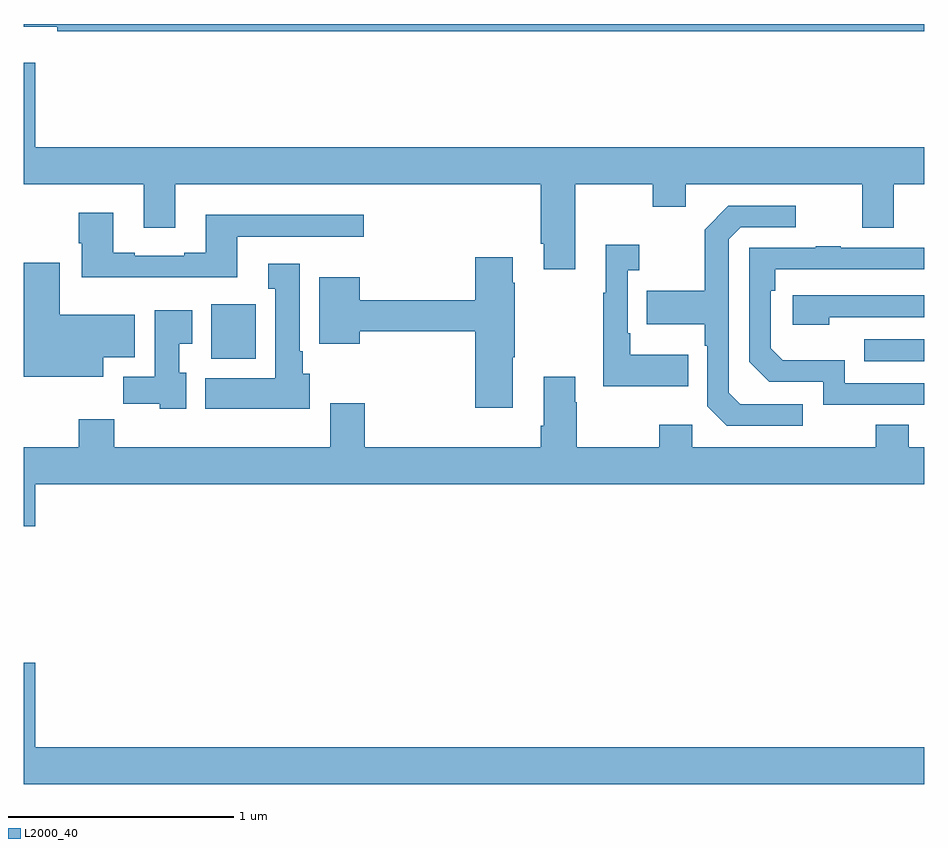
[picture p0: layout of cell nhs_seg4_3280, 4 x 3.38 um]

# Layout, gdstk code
import gdstk
lib = gdstk.Library(unit=1e-6, precision=1e-09)
def R(c, l, rs):  # rectangles x0, y0, x1, y1
    for r in rs: c.add(gdstk.rectangle(r[:2], r[2:], *l))
def P(c, l, *ps):  # polygons
    for p in ps: c.add(gdstk.Polygon(p, *l))
L2000_40 = (2000, 40)

nhs_seg4_3280 = lib.new_cell('nhs_seg4_3280')
R(nhs_seg4_3280, L2000_40, [(288.733,761.403,289,761.499), (285.833,761.414,286.03,761.656)])
P(nhs_seg4_3280, L2000_40, [(289,762.9),(285,762.9),(285,762.887),(285.148,762.887),(285.148,762.868),(289,762.868)],
  [(287.449,762.188),(287.794,762.188),(287.794,762.089),(287.941,762.089),(287.941,762.188),(288.725,762.188),(288.725,761.994),(288.865,761.994),(288.865,762.188),(289,762.188),(289,762.352),(285.052,762.352),(285.052,762.727),(285,762.727),(285,762.188),(285.533,762.188),(285.533,761.994),(285.673,761.994),(285.673,762.188),(287.297,762.188),(287.297,761.923),(287.309,761.923),(287.309,761.811),(287.449,761.811)],
  [(288.46,761.211),(288.183,761.211),(288.132,761.262),(288.132,761.943),(288.186,761.997),(288.43,761.997),(288.43,762.093),(288.129,762.093),(288.024,761.987),(288.024,761.715),(287.767,761.715),(287.767,761.567),(288.024,761.567),(288.024,761.471),(288.036,761.471),(288.036,761.202),(288.123,761.115),(288.46,761.115)],
  [(285.949,761.955),(286.51,761.955),(286.51,762.052),(285.809,762.052),(285.809,761.884),(285.713,761.884),(285.713,761.871),(285.493,761.871),(285.493,761.884),(285.397,761.884),(285.397,762.061),(285.245,762.061),(285.245,761.926),(285.257,761.926),(285.257,761.774),(285.949,761.774)],
  [(287.951,761.431),(287.695,761.431),(287.695,761.527),(287.682,761.527),(287.682,761.807),(287.734,761.807),(287.734,761.92),(287.585,761.92),(287.585,761.707),(287.574,761.707),(287.574,761.291),(287.951,761.291)],
  [(289,761.304),(288.648,761.304),(288.648,761.407),(288.371,761.407),(288.318,761.46),(288.318,761.714),(288.338,761.714),(288.338,761.811),(289,761.811),(289,761.907),(288.629,761.907),(288.629,761.912),(288.517,761.912),(288.517,761.907),(288.222,761.907),(288.222,761.4),(288.312,761.31),(288.552,761.31),(288.552,761.208),(289,761.208)],
  [(287.173,761.419),(287.181,761.419),(287.181,761.75),(287.173,761.75),(287.173,761.863),(287.006,761.863),(287.006,761.672),(286.492,761.672),(286.492,761.776),(286.313,761.776),(286.313,761.48),(286.492,761.48),(286.492,761.536),(287.006,761.536),(287.006,761.196),(287.173,761.196)],
  [(285.352,761.42),(285.493,761.42),(285.493,761.608),(285.16,761.608),(285.16,761.839),(285,761.839),(285,761.333),(285.352,761.333)],
  [(286.27,761.346),(286.24,761.346),(286.24,761.446),(286.225,761.446),(286.225,761.836),(286.085,761.836),(286.085,761.723),(286.118,761.723),(286.118,761.326),(285.806,761.326),(285.806,761.192),(286.27,761.192)],
  [(288.578,761.598),(289,761.598),(289,761.694),(288.417,761.694),(288.417,761.564),(288.578,761.564)],
  [(285.721,761.35),(285.691,761.35),(285.691,761.48),(285.748,761.48),(285.748,761.629),(285.581,761.629),(285.581,761.332),(285.442,761.332),(285.442,761.214),(285.603,761.214),(285.603,761.192),(285.721,761.192)],
  [(289,761.02),(288.931,761.02),(288.931,761.119),(288.784,761.119),(288.784,761.02),(287.97,761.02),(287.97,761.119),(287.824,761.119),(287.824,761.02),(287.457,761.02),(287.457,761.219),(287.449,761.219),(287.449,761.332),(287.309,761.332),(287.309,761.116),(287.297,761.116),(287.297,761.02),(286.514,761.02),(286.514,761.215),(286.361,761.215),(286.361,761.02),(285.401,761.02),(285.401,761.144),(285.245,761.144),(285.245,761.02),(285,761.02),(285,760.668),(285.052,760.668),(285.052,760.856),(289,760.856)],
  [(289,759.688),(285.052,759.688),(285.052,760.063),(285,760.063),(285,759.524),(289,759.524)])

lib.write_gds('nhs_seg4_3280.gds')
